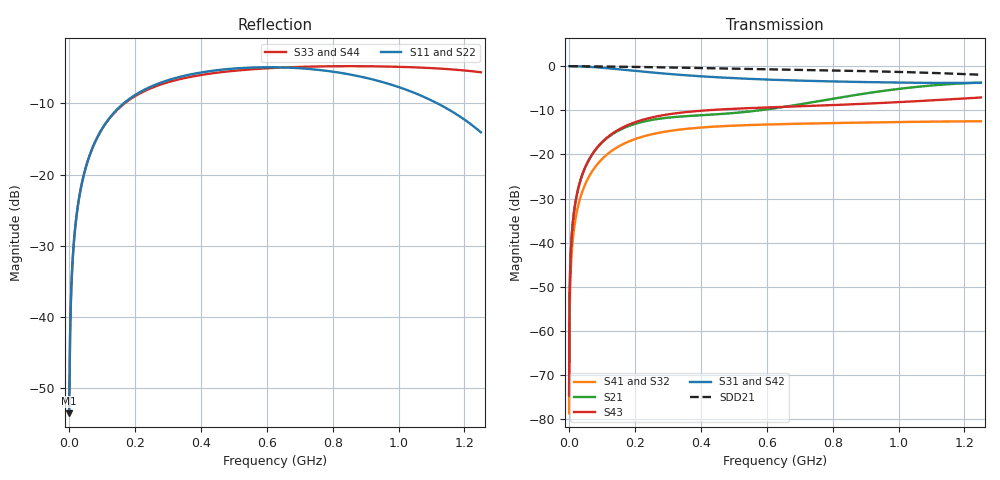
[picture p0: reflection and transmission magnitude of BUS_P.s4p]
! kisi 0.3.3: S-parameters of lane BUS_P (kisi's channel model of the board)
! board board.kicad_pcb
! subcircuit BUS_P_lane (pair: P and N on their own paths, coupled sections in modal form)
! port 1 (ap): P BUS_P at U1.6 (transmitter end)
! port 2 (an): N BUS_N at U1.7 (transmitter end)
! port 3 (bp): P BUS_P at U2.6 (receiver end)
! port 4 (bn): N BUS_N at U2.7 (receiver end)
! track length 55.75 mm, delay 315.3 ps, reference 50.00 ohm per port
! mixed mode with this order: differential port 1 = (port 1 - port 2)/sqrt(2), port 2 = (port 3 - port 4)/sqrt(2)
! the receiver's termination resistors are not included (they act as the receiver's termination)
! stackup: 2 copper layers, 1.49 mm, er and tand at 1 GHz; from board file (layer by layer in the README)
!  layers (um): F.Cu 30 / 1430 er 4.42 tand 0.02 / B.Cu 30
# HZ S RI R 5.000000e1
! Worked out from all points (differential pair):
!   10000 points, 125 kHz to 1.25 GHz, reference 50 ohm
!   strongest paths, dB at 125 kHz, 312.6 MHz, 625.1 MHz, 937.6 MHz, 1.25 GHz:
!     S31: 0.0, -1.8, -3.1, -3.7, -3.8
!     S42: 0.0, -1.9, -3.1, -3.7, -3.8
!     S43: -74.5, -10.8, -9.3, -8.4, -7.1
!     S21: -74.5, -11.6, -9.5, -5.8, -3.8
!     S41: -78.6, -14.6, -13.2, -12.7, -12.5
!     S32: -78.6, -14.6, -13.2, -12.7, -12.5
!   taken as a pair (ports 1,2 in; 3,4 out), SDD21 dB: 0.0, -0.3, -0.8, -1.2, -2.0
!   lowest |S11| = -53.6 dB at 125 kHz (marker M1), VSWR 1.00, Z = 50.2 + j0.0289 ohm
!   |S11| at or under -10 dB: start of sweep to 165.1 MHz; 1.119 GHz to end of sweep
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125000  0.00207 0.000288  6.18e-07 0.000188  0.9979 -0.000438  4.3e-07 -0.000117
        6.18e-07 0.000188  0.00208 0.000289  4.3e-07 -0.000117  0.9979 -0.000439
        0.9979 -0.000438  4.3e-07 -0.000117  0.00207 0.000288  6.37e-07 0.000188
        4.3e-07 -0.000117  0.9979 -0.000439  6.37e-07 0.000188  0.00208 0.000289
8875000  0.0031 0.0204  0.000541 0.0132  0.9967 -0.0306  -0.000462 -0.00843
         0.000541 0.0132  0.00311 0.0205  -0.000463 -0.00843  0.9967 -0.0307
         0.9967 -0.0306  -0.000463 -0.00843  0.00308 0.0204  0.000638 0.0132
         -0.000462 -0.00843  0.9967 -0.0307  0.000638 0.0132  0.00309 0.0205
2.7875e7  0.0103 0.0622  0.00514 0.0409  0.9886 -0.0938  -0.00489 -0.026
          0.00514 0.0409  0.0104 0.0625  -0.00489 -0.026  0.9886 -0.0941
          0.9886 -0.0938  -0.00489 -0.026  0.0101 0.0622  0.00608 0.0408
          -0.00489 -0.026  0.9886 -0.0941  0.00608 0.0408  0.0102 0.0625
7.3375e7  0.0498 0.1509  0.0324 0.0989  0.9453 -0.2332  -0.0315 -0.0594
          0.0324 0.0989  0.0501 0.1516  -0.0315 -0.0593  0.9451 -0.2337
          0.9453 -0.2332  -0.0315 -0.0593  0.0485 0.1508  0.0384 0.0973
          -0.0315 -0.0594  0.9451 -0.2337  0.0384 0.0973  0.0487 0.1515
1.50625e8  0.161 0.2471  0.1046 0.1546  0.8219 -0.4147  -0.1008 -0.0707
           0.1046 0.1546  0.1622 0.248  -0.1009 -0.0706  0.8211 -0.4153
           0.8219 -0.4147  -0.1009 -0.0706  0.1543 0.2474  0.1268 0.1433
           -0.1008 -0.0707  0.8211 -0.4153  0.1268 0.1433  0.155 0.2486
6.19625e8  0.5689 -0.00148  0.2835 0.1709  0.0996 -0.6928  -0.0473 0.214
           0.2835 0.1709  0.5705 -0.00388  -0.046 0.214  0.0989 -0.6916
           0.0996 -0.6928  -0.046 0.214  0.5447 0.1393  0.3214 -0.1175
           -0.0473 0.214  0.0989 -0.6916  0.3214 -0.1175  0.5459 0.1413
1.25e9  0.1237 -0.1549  0.6398 -0.1103  -0.5352 -0.364  0.2175 -0.0957
        0.6398 -0.1103  0.1195 -0.157  0.2161 -0.0996  -0.5359 -0.3627
        -0.5352 -0.364  0.2161 -0.0996  0.5045 -0.1428  0.0392 -0.4394
        0.2175 -0.0957  -0.5359 -0.3627  0.0392 -0.4394  0.5073 -0.1347
